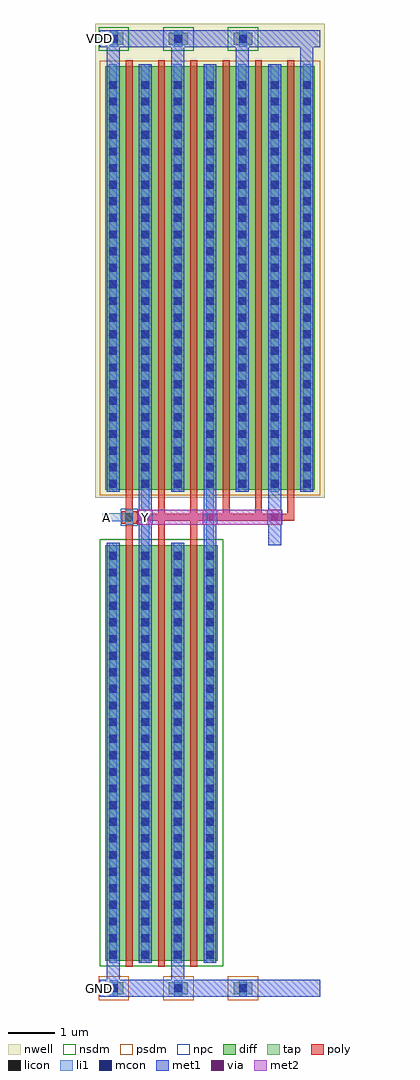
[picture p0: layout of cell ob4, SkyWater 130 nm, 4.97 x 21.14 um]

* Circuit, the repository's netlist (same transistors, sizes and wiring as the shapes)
* NGSPICE file created from ob4.ext - technology: sky130A

.subckt ob4 A Y VDD GND
X0 VDD A Y VDD sky130_fd_pr__pfet_01v8 ad=2.52038 pd=9.715 as=2.52038 ps=9.715 w=9.165 l=0.15
X1 VDD A Y VDD sky130_fd_pr__pfet_01v8 ad=2.52038 pd=9.715 as=2.52038 ps=9.715 w=9.165 l=0.15
X2 Y A GND GND sky130_fd_pr__nfet_01v8 ad=2.475 pd=9.55 as=3.96 ps=18.88 w=9 l=0.15
X3 Y A VDD VDD sky130_fd_pr__pfet_01v8 ad=2.52038 pd=9.715 as=2.52038 ps=9.715 w=9.165 l=0.15
X4 Y A VDD VDD sky130_fd_pr__pfet_01v8 ad=2.52038 pd=9.715 as=4.0326 ps=19.21 w=9.165 l=0.15
X5 Y A VDD VDD sky130_fd_pr__pfet_01v8 ad=2.52038 pd=9.715 as=2.52038 ps=9.715 w=9.165 l=0.15
X6 VDD A Y VDD sky130_fd_pr__pfet_01v8 ad=4.0326 pd=19.21 as=2.52038 ps=9.715 w=9.165 l=0.15
X7 Y A GND GND sky130_fd_pr__nfet_01v8 ad=3.96 pd=18.88 as=2.475 ps=9.55 w=9 l=0.15
X8 GND A Y GND sky130_fd_pr__nfet_01v8 ad=2.475 pd=9.55 as=2.475 ps=9.55 w=9 l=0.15
.ends

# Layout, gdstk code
import gdstk
lib = gdstk.Library(unit=1e-6, precision=1e-09)
def R(c, l, rs):  # rectangles x0, y0, x1, y1
    for r in rs: c.add(gdstk.rectangle(r[:2], r[2:], *l))
def A(c, l, x, y, w, h, nx, ny, dx, dy):  # array of equal rectangles
    R(c, l, [(x+i*dx, y+j*dy, x+i*dx+w, y+j*dy+h) for i in range(nx) for j in range(ny)])
nwell = (64, 20)
diff = (65, 20)
tap = (65, 44)
poly = (66, 20)
licon = (66, 44)
li1 = (67, 20)
mcon = (67, 44)
met1 = (68, 20)
via = (68, 44)
met2 = (69, 20)
nsdm = (93, 44)
psdm = (94, 20)
npc = (95, 20)

ob4 = lib.new_cell('ob4')
R(ob4, nwell, [(0,10.62,4.97,20.885)])
R(ob4, diff, [(0.22,0.6,2.65,9.6), (0.22,10.8,4.75,19.965)])
A(ob4, tap, 0.195, -0.13, 0.41, 0.26, 3, 2, 1.4, 20.565)
A(ob4, poly, 1.36, 10.275, 0.15, 9.82, 5, 1, 0.7, 0)
R(ob4, poly, [(0.66,0.47,0.81,10.065), (1.36,0.47,1.51,10.125), (2.06,0.47,2.21,10.125), (0.57,10.065,0.9,10.125), (0.57,10.125,4.31,10.275), (0.57,10.275,0.9,10.335), (0.66,10.335,0.81,20.095)])
A(ob4, licon, 0.315, -0.085, 0.17, 0.17, 3, 2, 1.4, 20.565)
A(ob4, licon, 0.3, 0.64, 0.17, 0.17, 4, 25, 0.7, 0.36)
A(ob4, licon, 0.3, 10.84, 0.17, 0.17, 7, 25, 0.7, 0.36)
R(ob4, licon, [(0.65,10.115,0.82,10.285)])
A(ob4, li1, 0.315, -0.175, 0.17, 0.35, 3, 2, 1.4, 20.565)
A(ob4, li1, 0.3, 10.75, 0.17, 9.265, 3, 1, 1.4, 0)
R(ob4, li1, [(0.3,0.55,0.47,9.65), (1,0.55,1.17,20.015), (1.7,0.55,1.87,9.65), (2.4,0.55,2.57,20.015), (0.65,10.035,0.82,10.115), (0.165,10.115,0.82,10.285), (0.65,10.285,0.82,10.365), (3.8,10.75,3.97,20.015), (4.5,10.75,4.67,20.015)])
A(ob4, mcon, 0.315, -0.085, 0.17, 0.17, 3, 2, 1.4, 20.565)
A(ob4, mcon, 0.3, 0.64, 0.17, 0.17, 4, 25, 0.7, 0.36)
A(ob4, mcon, 0.3, 10.84, 0.17, 0.17, 7, 25, 0.7, 0.36)
A(ob4, met1, 0.925, 10.04, 0.32, 0.32, 3, 1, 1.4, 0)
A(ob4, met1, 0.945, 10.36, 0.28, 9.655, 3, 1, 1.4, 0)
A(ob4, met1, 0.245, 10.75, 0.28, 9.635, 4, 1, 1.4, 0)
R(ob4, met1, [(0.1,-0.18,4.87,0.18), (0.245,0.18,0.525,9.65), (1.645,0.18,1.925,9.65), (0.945,0.55,1.225,10.04), (2.345,0.55,2.625,10.04), (3.745,9.6,4.025,10.04), (0.1,20.385,4.87,20.745)])
A(ob4, via, 1.01, 10.125, 0.15, 0.15, 3, 1, 1.4, 0)
R(ob4, met2, [(0.935,10.04,4.035,10.36)])
A(ob4, nsdm, 0.07, 20.31, 0.66, 0.51, 3, 1, 1.4, 0)
R(ob4, nsdm, [(0.095,0.475,2.775,9.725)])
A(ob4, psdm, 0.07, -0.255, 0.66, 0.51, 3, 1, 1.4, 0)
R(ob4, psdm, [(0.095,10.675,4.875,20.09)])
R(ob4, npc, [(0.55,10.015,0.92,10.385)])
ob4.add(gdstk.Label('A', (0.25,10.2), layer=67, texttype=5))
ob4.add(gdstk.Label('Y', (1.085,10.2), layer=69, texttype=5))
ob4.add(gdstk.Label('VDD', (0.1,20.565), layer=68, texttype=5))
ob4.add(gdstk.Label('GND', (0.1,0), layer=68, texttype=5))

lib.write_gds('ob4.gds')
